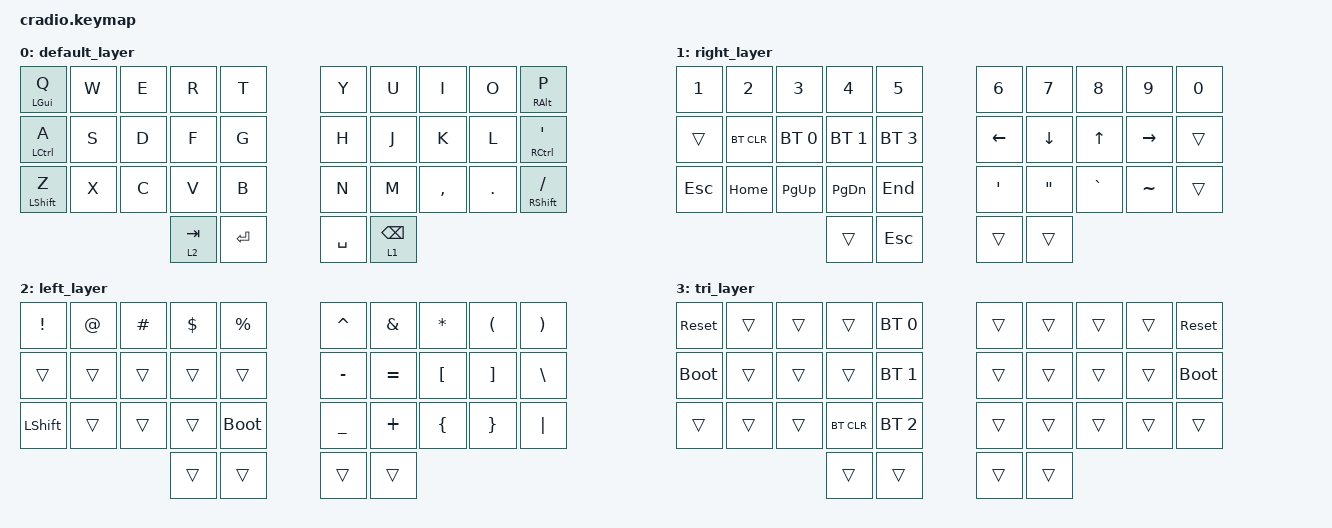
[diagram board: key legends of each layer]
// Copyright (c) 2022 The ZMK Contributors
// SPDX-License-Identifier: MIT

#include <behaviors.dtsi>
#include <dt-bindings/zmk/keys.h>
#include <dt-bindings/zmk/bt.h>

// Home row mods macro
#define HRML(k1,k2,k3,k4) &ht LSHFT k1  &ht LALT k2  &ht LCTRL k3  &ht LGUI k4
#define HRMR(k1,k2,k3,k4) &ht RGUI k1  &ht RCTRL k2  &ht RALT k3  &ht RSHFT k4

/ {
    behaviors {
        ht: hold_tap {
            label = "hold_tap";
            compatible = "zmk,behavior-hold-tap";
            #binding-cells = <2>;
            flavor = "tap-preferred";
            tapping-term-ms = <220>;
            quick-tap-ms = <150>;
            global-quick-tap;
            bindings = <&kp>, <&kp>;
        };
    };

    conditional_layers {
        compatible = "zmk,conditional-layers";
        tri_layer {
            if-layers = <1 2>;
            then-layer = <3>;
        };
    };

    keymap {
        compatible = "zmk,keymap";
        default_layer {
            bindings = <
        //╭──────────┬──────────┬──────────┬──────────┬──────────╮   ╭──────────┬──────────┬──────────┬──────────┬──────────╮
        //│  Q       │  W       │  E       │  R       │  T       │   │  Y       │  U       │  I       │  O       │  P       │
            &ht LGUI Q     &kp W      &kp E      &kp R      &kp T          &kp Y      &kp U      &kp I      &kp O   &ht RALT P
        //├──────────┼──────────┼──────────┼──────────┼──────────┤   ├──────────┼──────────┼──────────┼──────────┼──────────┤
        //│  A       │  S       │  D       │  F       │  G       │   │  H       │  J       │  K       │  L       │ ' "      │
            &ht LCTRL A    &kp S     &kp D     &kp F     &kp G          &kp H      &kp J      &kp K      &kp L     &ht RCTRL SQT
        //├──────────┼──────────┼──────────┼──────────┼──────────┤   ├──────────┼──────────┼──────────┼──────────┼──────────┤
        //│  Z       │  X       │  C       │  V       │  B       │   │  N       │  M       │ , <      │ . >      │ / ?      │
            &ht LSHFT Z    &kp X      &kp C      &kp V      &kp B       &kp N      &kp M      &kp COMMA  &kp DOT    &ht RSHFT FSLH
        //╰──────────┴──────────┴──────────┼──────────┼──────────┤   ├──────────┼──────────┼──────────┴──────────┴──────────╯
                                            &lt 2 TAB   &kp ENTER     &kp SPACE  &lt 1 BSPC
        //                                 ╰──────────┴──────────╯   ╰──────────┴──────────╯
            >;
        };

        right_layer {
            bindings = <
        //╭──────────┬──────────┬──────────┬──────────┬──────────╮   ╭──────────┬──────────┬──────────┬──────────┬──────────╮
        //│ INSERT   │  1       │  2       │  3       │          │   │ HOME     │ PAGE DN  │ PAGE UP  │ END      │  :       │
            &kp N1    &kp N2     &kp N3     &kp N4     &kp N5         &kp N6   &kp N7  &kp N8  &kp N9     &kp N0
        //├──────────┼──────────┼──────────┼──────────┼──────────┤   ├──────────┼──────────┼──────────┼──────────┼──────────┤
        //│ DELETE   │  4       │  5       │  6       │          │   │ LEFT     │ DOWN     │ UP       │ RIGHT    │  ;       │
            &trans    &bt BT_CLR  &bt BT_SEL 0  &bt BT_SEL 1  &bt BT_SEL 3         &kp LEFT   &kp DOWN   &kp UP   &kp RIGHT   &trans
        //├──────────┼──────────┼──────────┼──────────┼──────────┤   ├──────────┼──────────┼──────────┼──────────┼──────────┤
        //│ CAPS     │  7       │  8       │  9       │  0       │   │          │          │          │          │          │
           &kp ESC  &kp HOME     &kp PG_UP     &kp PG_DN     &kp END         &kp SQT     &kp DQT     &kp GRAVE     &kp TILDE     &trans
        //╰──────────┴──────────┴──────────┼──────────┼──────────┤   ├──────────┼──────────┼──────────┴──────────┴──────────╯
                                             &trans     &kp ESC        &trans     &trans
        //                                 ╰──────────┴──────────╯   ╰──────────┴──────────╯
            >;
        };

        left_layer {
            bindings = <
        //╭──────────┬──────────┬──────────┬──────────┬──────────╮   ╭──────────┬──────────┬──────────┬──────────┬──────────╮
        //│          │  [       │  {       │  }       │          │   │  ^       │  (       │  )       │  ]       │  ~       │
            &kp EXCL   &kp AT   &kp HASH   &kp DLLR   &kp PRCNT         &kp CARET  &kp AMPS   &kp ASTRK   &kp LPAR   &kp RPAR
        //├──────────┼──────────┼──────────┼──────────┼──────────┤   ├──────────┼──────────┼──────────┼──────────┼──────────┤
        //│  !       │  @       │  #       │  $       │  %       │   │  *       │  -       │  =       │  \       │  `       │
            &trans   &trans     &trans   &trans   &trans      &kp MINUS  &kp EQUAL  &kp LBKT  &kp RBKT   &kp BSLH
        //├──────────┼──────────┼──────────┼──────────┼──────────┤   ├──────────┼──────────┼──────────┼──────────┼──────────┤
        //│          │          │          │          │          │   │  &       │  _       │  +       │  │       │          │
            &kp LSHFT     &trans     &trans     &trans     &bootloader         &kp UNDER   &kp PLUS  &kp LBRC   &kp RBRC   &kp PIPE
        //╰──────────┴──────────┴──────────┼──────────┼──────────┤   ├──────────┼──────────┼──────────┴──────────┴──────────╯
                                             &trans     &trans         &trans     &trans
        //                                 ╰──────────┴──────────╯   ╰──────────┴──────────╯
            >;
        };

        tri_layer {
            bindings = <
        //╭──────────┬──────────┬──────────┬──────────┬──────────╮   ╭──────────┬──────────┬──────────┬──────────┬──────────╮
        //│ RESET    │          │          │          │PROFILE 0 │   │          │          │          │          │  RESET   │
           &sys_reset  &trans     &trans     &trans    &bt BT_SEL 0    &trans     &trans     &trans     &trans    &sys_reset
        //├──────────┼──────────┼──────────┼──────────┼──────────┤   ├──────────┼──────────┼──────────┼──────────┼──────────┤
        //│BOOTLOADER│          │          │          │PROFILE 1 │   │          │          │          │          │BOOTLOADER│
          &bootloader  &trans     &trans     &trans    &bt BT_SEL 1    &trans     &trans     &trans     &trans    &bootloader
        //├──────────┼──────────┼──────────┼──────────┼──────────┤   ├──────────┼──────────┼──────────┼──────────┼──────────┤
        //│          │          │          │ CLEAR BT │PROFILE 2 │   │          │          │          │          │          │
            &trans     &trans     &trans    &bt BT_CLR &bt BT_SEL 2    &trans     &trans     &trans     &trans     &trans
        //╰──────────┴──────────┴──────────┼──────────┼──────────┤   ├──────────┼──────────┼──────────┴──────────┴──────────╯
                                             &trans     &trans         &trans     &trans
        //                                 ╰──────────┴──────────╯   ╰──────────┴──────────╯
            >;
        };
    };
};
